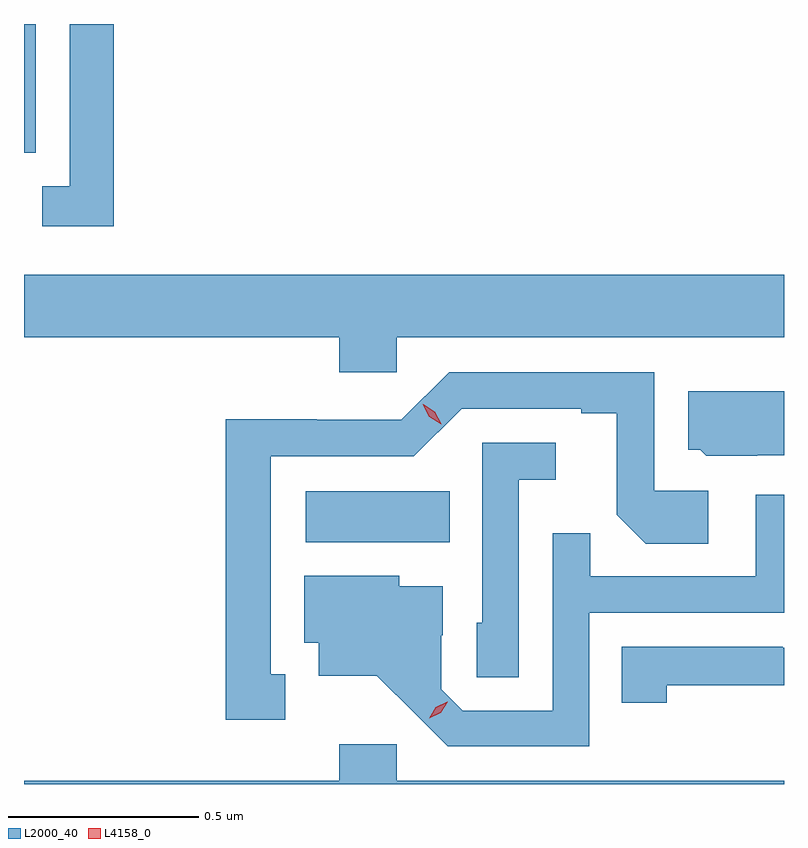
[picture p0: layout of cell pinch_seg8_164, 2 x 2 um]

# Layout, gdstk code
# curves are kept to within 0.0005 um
import gdstk
lib = gdstk.Library(unit=1e-6, precision=1e-09)
def R(c, l, rs):  # rectangles x0, y0, x1, y1
    for r in rs: c.add(gdstk.rectangle(r[:2], r[2:], *l))
def P(c, l, *ps):  # polygons
    for p in ps: c.add(gdstk.Polygon(p, *l))
L2000_40 = (2000, 40)
L4158_0 = (4158, 0)

pinch_seg8_164 = lib.new_cell('pinch_seg8_164')
R(pinch_seg8_164, L2000_40, [(700.146,1162.58,700.526,1162.714), (699.405,1163.605,699.436,1163.944)])
P(pinch_seg8_164, L2000_40, [(699.641,1163.944),(699.525,1163.944),(699.525,1163.517),(699.453,1163.517),(699.453,1163.412),(699.641,1163.412)],
  [(700.386,1163.12),(701.405,1163.12),(701.405,1163.284),(699.405,1163.284),(699.405,1163.12),(700.235,1163.12),(700.235,1163.027),(700.386,1163.027)],
  [(700.093,1162.233),(700.054,1162.233),(700.054,1162.806),(700.431,1162.806),(700.557,1162.932),(700.871,1162.932),(700.871,1162.92),(700.965,1162.92),(700.965,1162.652),(701.041,1162.576),(701.206,1162.576),(701.206,1162.716),(701.064,1162.716),(701.064,1163.028),(700.524,1163.028),(700.398,1162.902),(700.176,1162.902),(700.176,1162.904),(699.936,1162.904),(699.936,1162.113),(700.093,1162.113)],
  [(701.334,1162.809),(701.405,1162.809),(701.405,1162.978),(701.153,1162.978),(701.153,1162.824),(701.184,1162.824),(701.2,1162.808),(701.334,1162.808)],
  [(700.707,1162.745),(700.804,1162.745),(700.804,1162.842),(700.611,1162.842),(700.611,1162.368),(700.596,1162.368),(700.596,1162.225),(700.707,1162.225)],
  [(700.893,1162.395),(701.405,1162.395),(701.405,1162.705),(701.331,1162.705),(701.331,1162.491),(700.895,1162.491),(700.895,1162.604),(700.797,1162.604),(700.797,1162.137),(700.56,1162.137),(700.503,1162.194),(700.503,1162.336),(700.507,1162.336),(700.507,1162.465),(700.392,1162.465),(700.392,1162.492),(700.142,1162.492),(700.142,1162.316),(700.181,1162.316),(700.181,1162.229),(700.333,1162.229),(700.52,1162.044),(700.893,1162.044)],
  [(701.097,1162.204),(701.405,1162.204),(701.405,1162.302),(701.402,1162.302),(701.402,1162.305),(700.978,1162.305),(700.978,1162.158),(701.097,1162.158)],
  [(701.405,1161.952),(700.386,1161.952),(700.386,1162.048),(700.235,1162.048),(700.235,1161.952),(699.405,1161.952),(699.405,1161.944),(701.405,1161.944)])
P(pinch_seg8_164, L4158_0, [(700.471,1162.117),(700.471,1162.117),(700.489,1162.146),(700.519,1162.16),(700.52,1162.16),(700.52,1162.16),(700.502,1162.131),(700.471,1162.117)],
  [(700.503,1162.891),(700.471,1162.911),(700.454,1162.943),(700.454,1162.944),(700.455,1162.944),(700.486,1162.924),(700.503,1162.892),(700.503,1162.891)])

lib.write_gds('pinch_seg8_164.gds')
